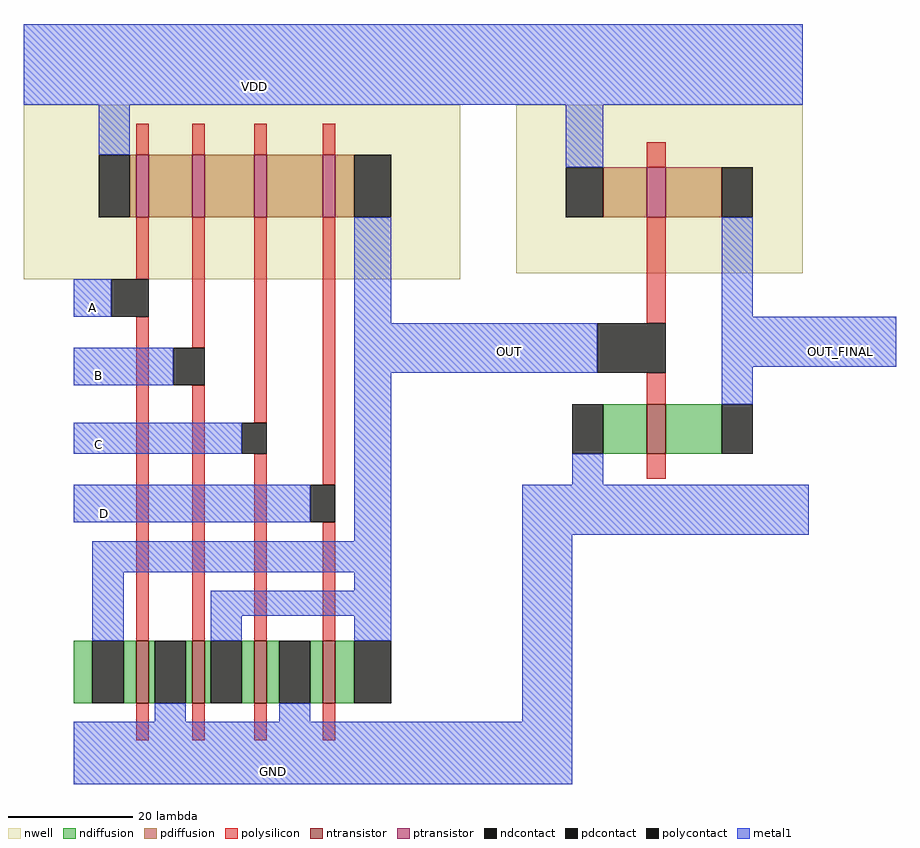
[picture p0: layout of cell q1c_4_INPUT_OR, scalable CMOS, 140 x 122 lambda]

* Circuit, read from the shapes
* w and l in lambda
.subckt q1c_4_INPUT_OR A B C D GND OUT OUT_FINAL VDD
M1 GND A OUT VSUBS nfet w=10 l=2
M2 OUT B GND VSUBS nfet w=10 l=2
M3 GND C OUT VSUBS nfet w=10 l=2
M4 OUT D GND VSUBS nfet w=10 l=2
M5 OUT_FINAL OUT GND VSUBS nfet w=8 l=3
M6 n1 A VDD n2 pfet w=10 l=2
M7 n3 B n1 n2 pfet w=10 l=2
M8 n4 C n3 n2 pfet w=10 l=2
M9 OUT D n4 n2 pfet w=10 l=2
M10 OUT_FINAL OUT VDD n5 pfet w=8 l=3
.ends

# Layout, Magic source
magic
tech scmos
<< nwell >>
rect -38 -10 32 18
rect 41 -9 87 18
<< ntransistor >>
rect 62 -38 65 -30
rect -20 -78 -18 -68
rect -11 -78 -9 -68
rect -1 -78 1 -68
rect 10 -78 12 -68
<< ptransistor >>
rect -20 0 -18 10
rect -11 0 -9 10
rect -1 0 1 10
rect 10 0 12 10
rect 62 0 65 8
<< ndiffusion >>
rect 55 -38 62 -30
rect 65 -38 74 -30
rect -30 -78 -27 -68
rect -22 -78 -20 -68
rect -18 -78 -17 -68
rect -12 -78 -11 -68
rect -9 -78 -8 -68
rect -3 -78 -1 -68
rect 1 -78 3 -68
rect 8 -78 10 -68
rect 12 -78 15 -68
<< pdiffusion >>
rect -21 0 -20 10
rect -18 0 -11 10
rect -9 0 -1 10
rect 1 0 10 10
rect 12 0 15 10
rect 55 0 62 8
rect 65 0 74 8
<< ndcontact >>
rect 50 -38 55 -30
rect 74 -38 79 -30
rect -27 -78 -22 -68
rect -17 -78 -12 -68
rect -8 -78 -3 -68
rect 3 -78 8 -68
rect 15 -78 21 -68
<< pdcontact >>
rect -26 0 -21 10
rect 15 0 21 10
rect 49 0 55 8
rect 74 0 79 8
<< polysilicon >>
rect -20 10 -18 15
rect -11 10 -9 15
rect -1 10 1 15
rect 10 10 12 15
rect 62 8 65 12
rect -20 -10 -18 0
rect -20 -68 -18 -16
rect -11 -21 -9 0
rect -11 -68 -9 -27
rect -1 -33 1 0
rect -1 -68 1 -38
rect 10 -43 12 0
rect 62 -17 65 0
rect 62 -30 65 -25
rect 62 -42 65 -38
rect 10 -68 12 -49
rect -20 -84 -18 -78
rect -11 -84 -9 -78
rect -1 -84 1 -78
rect 10 -84 12 -78
<< polycontact >>
rect -24 -16 -18 -10
rect -14 -27 -9 -21
rect -3 -38 1 -33
rect 54 -25 65 -17
rect 8 -49 12 -43
<< metal1 >>
rect -38 18 87 31
rect -26 10 -21 18
rect 49 8 55 18
rect -30 -16 -24 -10
rect 15 -17 21 0
rect 74 -16 79 0
rect -30 -27 -14 -21
rect 15 -25 54 -17
rect 74 -24 102 -16
rect -30 -38 -3 -33
rect -30 -49 8 -43
rect 15 -52 21 -25
rect 74 -30 79 -24
rect 50 -43 55 -38
rect -27 -57 21 -52
rect -27 -68 -22 -57
rect 15 -60 21 -57
rect -8 -64 21 -60
rect -8 -68 -3 -64
rect 15 -68 21 -64
rect 42 -51 88 -43
rect -17 -81 -12 -78
rect 3 -81 8 -78
rect 42 -81 50 -51
rect -30 -91 50 -81
<< labels >>
rlabel metal1 -7 19 5 23 1 VDD
rlabel metal1 -4 -91 8 -87 1 GND
rlabel metal1 -28 -16 -26 -13 1 A
rlabel metal1 -27 -27 -25 -24 1 B
rlabel metal1 -27 -38 -25 -35 1 C
rlabel metal1 -26 -49 -24 -46 1 D
rlabel metal1 39 -23 41 -20 1 OUT
rlabel metal1 92 -23 94 -20 1 OUT_FINAL
<< end >>
